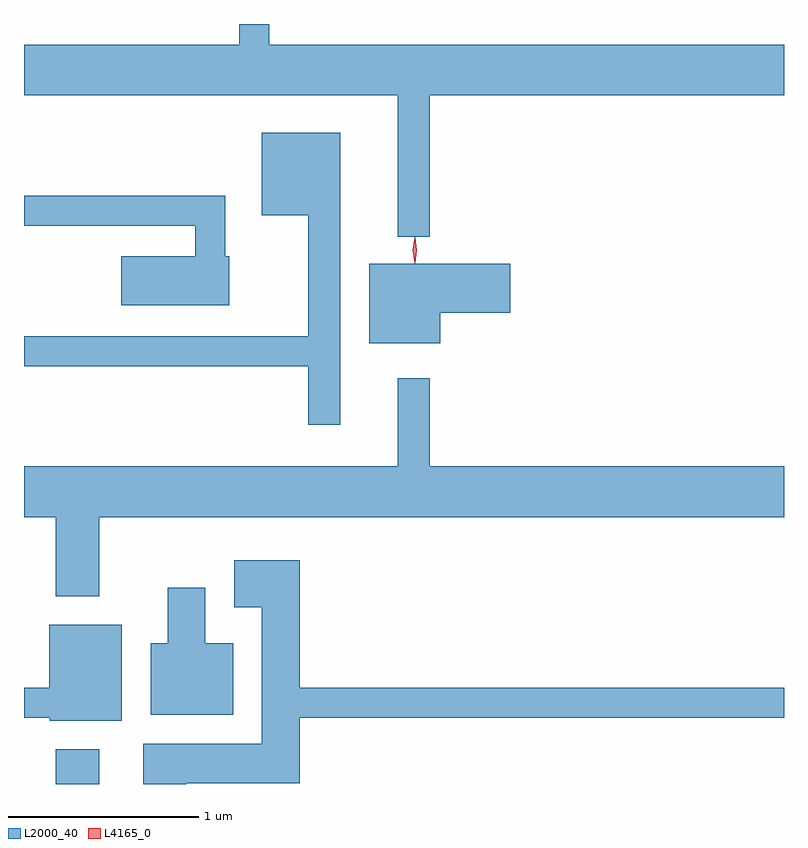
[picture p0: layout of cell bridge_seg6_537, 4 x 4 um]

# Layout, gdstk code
import gdstk
lib = gdstk.Library(unit=1e-6, precision=1e-09)
def R(c, l, rs):  # rectangles x0, y0, x1, y1
    for r in rs: c.add(gdstk.rectangle(r[:2], r[2:], *l))
def P(c, l, *ps):  # polygons
    for p in ps: c.add(gdstk.Polygon(p, *l))
L2000_40 = (2000, 40)
L4165_0 = (4165, 0)

bridge_seg6_537 = lib.new_cell('bridge_seg6_537')
R(bridge_seg6_537, L2000_40, [(425.851,1635.212,426.079,1635.394)])
P(bridge_seg6_537, L2000_40, [(427.819,1638.836),(429.684,1638.836),(429.684,1639.104),(426.974,1639.104),(426.974,1639.212),(426.816,1639.212),(426.816,1639.104),(425.684,1639.104),(425.684,1638.836),(427.651,1638.836),(427.651,1638.093),(427.819,1638.093)],
  [(427.349,1638.639),(426.936,1638.639),(426.936,1638.206),(427.181,1638.206),(427.181,1637.569),(425.684,1637.569),(425.684,1637.411),(427.181,1637.411),(427.181,1637.103),(427.349,1637.103)],
  [(426.764,1637.989),(426.744,1637.989),(426.744,1638.309),(425.684,1638.309),(425.684,1638.151),(426.586,1638.151),(426.586,1637.989),(426.196,1637.989),(426.196,1637.731),(426.764,1637.731)],
  [(427.874,1637.691),(428.244,1637.691),(428.244,1637.949),(427.501,1637.949),(427.501,1637.531),(427.874,1637.531)],
  [(426.079,1636.616),(429.684,1636.616),(429.684,1636.884),(427.819,1636.884),(427.819,1637.348),(427.651,1637.348),(427.651,1636.884),(425.684,1636.884),(425.684,1636.616),(425.851,1636.616),(425.851,1636.201),(426.079,1636.201)],
  [(426.539,1635.216),(427.134,1635.216),(427.134,1635.561),(429.684,1635.561),(429.684,1635.719),(427.134,1635.719),(427.134,1636.389),(426.791,1636.389),(426.791,1636.141),(426.936,1636.141),(426.936,1635.424),(426.311,1635.424),(426.311,1635.212),(426.539,1635.212)],
  [(426.784,1635.954),(426.639,1635.954),(426.639,1636.244),(426.441,1636.244),(426.441,1635.954),(426.351,1635.954),(426.351,1635.576),(426.784,1635.576)],
  [(426.199,1636.049),(425.816,1636.049),(425.816,1635.719),(425.684,1635.719),(425.684,1635.561),(425.82,1635.561),(425.82,1635.546),(426.199,1635.546)])
P(bridge_seg6_537, L4165_0, [(427.742,1637.96),(427.742,1637.961),(427.732,1638.023),(427.74,1638.086),(427.741,1638.087),(427.742,1638.086),(427.752,1638.024),(427.743,1637.961)],
  [(427.741,1637.954),(427.731,1638.022),(427.74,1638.09),(427.741,1638.09),(427.742,1638.09),(427.751,1638.022),(427.742,1637.954),(427.742,1637.954)])

lib.write_gds('bridge_seg6_537.gds')
